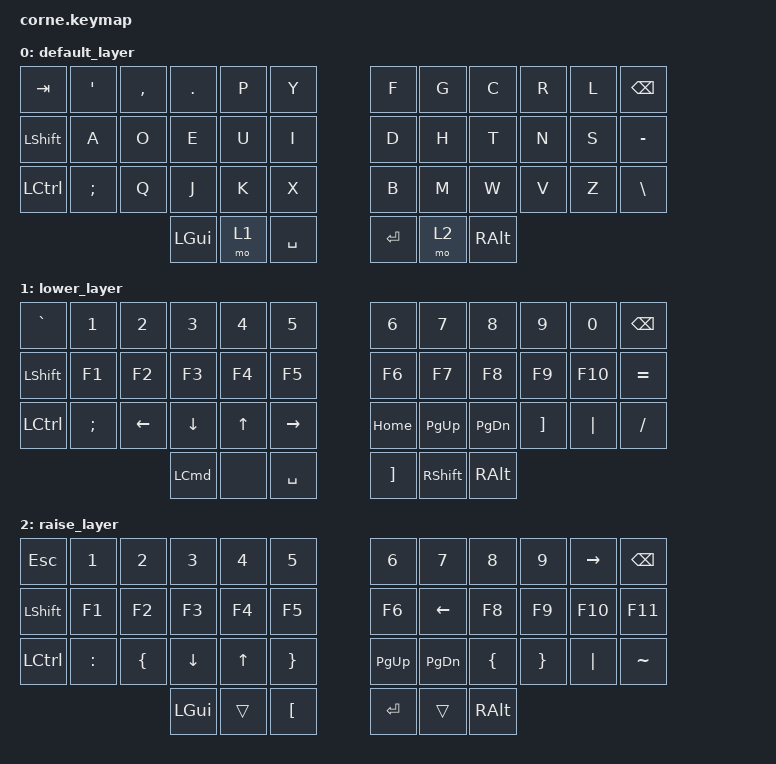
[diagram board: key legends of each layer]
/*
 * Copyright (c) 2020 The ZMK Contributors
 *
 * SPDX-License-Identifier: MIT
 */

#include <behaviors.dtsi>
#include <dt-bindings/zmk/keys.h>

/ {
    keymap {
        compatible = "zmk,keymap";

        default_layer {
            bindings = <
&kp TAB           &kp SINGLE_QUOTE  &kp COMMA  &kp PERIOD  &kp P  &kp Y        &kp F      &kp G  &kp C     &kp R  &kp L  &kp BSPC
&kp LEFT_SHIFT    &kp A             &kp O      &kp E       &kp U  &kp I        &kp D      &kp H  &kp T     &kp N  &kp S  &kp MINUS
&kp LEFT_CONTROL  &kp SEMICOLON     &kp Q      &kp J       &kp K  &kp X        &kp B      &kp M  &kp W     &kp V  &kp Z  &kp BACKSLASH
                                               &kp LGUI    &mo 1  &kp SPACE    &kp ENTER  &mo 2  &kp RALT
            >;
        };

        lower_layer {
            bindings = <
&kp GRAVE         &kp N1         &kp N2          &kp N3            &kp N4        &kp N5       &kp N6             &kp N7           &kp N8         &kp N9             &kp N0    &kp BSPC
&kp LEFT_SHIFT    &kp F1         &kp F2          &kp F3            &kp F4        &kp F5       &kp F6             &kp F7           &kp F8         &kp F9             &kp F10   &kp EQUAL
&kp LEFT_CONTROL  &kp SEMICOLON  &kp LEFT_ARROW  &kp DOWN_ARROW    &kp UP_ARROW  &kp RIGHT    &kp HOME           &kp PG_UP        &kp PAGE_DOWN  &kp RIGHT_BRACKET  &kp PIPE  &kp SLASH
                                                 &kp LEFT_COMMAND  &none         &kp SPACE    &kp RIGHT_BRACKET  &kp RIGHT_SHIFT  &kp RALT
            >;
        };

        raise_layer {
            bindings = <
&kp ESCAPE        &kp NUMBER_1  &kp NUMBER_2    &kp NUMBER_3  &kp NUMBER_4  &kp N5              &kp NUMBER_6  &kp N7         &kp N8    &kp N9    &kp RIGHT  &kp BSPC
&kp LEFT_SHIFT    &kp F1        &kp F2          &kp F3        &kp F4        &kp F5              &kp F6        &kp LEFT       &kp F8    &kp F9    &kp F10    &kp F11
&kp LEFT_CONTROL  &kp COLON     &kp LEFT_BRACE  &kp DOWN      &kp UP_ARROW  &kp RIGHT_BRACE     &kp PAGE_UP   &kp PAGE_DOWN  &kp LBRC  &kp RBRC  &kp PIPE   &kp TILDE
                                                &kp LGUI      &trans        &kp LEFT_BRACKET    &kp ENTER     &trans         &kp RALT
            >;
        };
    };
};
